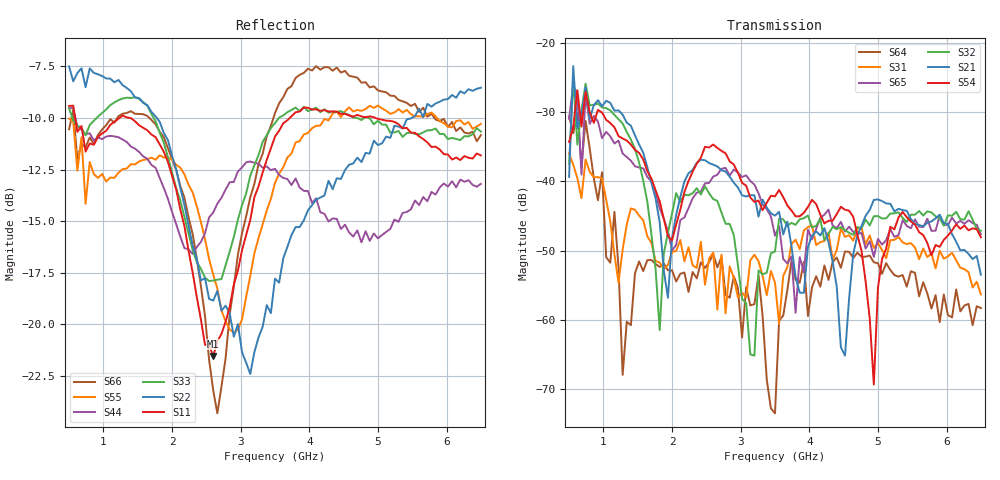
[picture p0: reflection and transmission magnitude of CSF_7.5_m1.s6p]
!Keysight Technologies,M9804A,MY58100912,A.14.10.03
!Date: Thursday, April 27, 2023 10:28:33
!Correction: S11(C  6-Port  )
!S12(C  6-Port  )
!S13(C  6-Port  )
!S14(C  6-Port  )
!S15(C  6-Port  )
!S16(C  6-Port  )
!S21(C  6-Port  )
!S22(C  6-Port  )
!S23(C  6-Port  )
!S24(C  6-Port  )
!S25(C  6-Port  )
!S26(C  6-Port  )
!S31(C  6-Port  )
!S32(C  6-Port  )
!S33(C  6-Port  )
!S34(C  6-Port  )
!S35(C  6-Port  )
!S36(C  6-Port  )
!S41(C  6-Port  )
!S42(C  6-Port  )
!S43(C  6-Port  )
!S44(C  6-Port  )
!S45(C  6-Port  )
!S46(C  6-Port  )
!S51(C  6-Port  )
!S52(C  6-Port  )
!S53(C  6-Port  )
!S54(C  6-Port  )
!S55(C  6-Port  )
!S56(C  6-Port  )
!S61(C  6-Port  )
!S62(C  6-Port  )
!S63(C  6-Port  )
!S64(C  6-Port  )
!S65(C  6-Port  )
!S66(C  6-Port  )
!S6P File: Measurement: :
# Hz S  RI  R 50
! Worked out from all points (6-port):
!   101 points, 500 MHz to 6.5 GHz, reference 50 ohm
!   strongest paths, dB at 500 MHz, 2 GHz, 3.5 GHz, 5 GHz, 6.5 GHz:
!     S54: -34.3, -48.5, -42.2, -55.4, -48.1
!     S21: -39.4, -48.1, -45.0, -42.6, -53.5
!     S32: -37.5, -44.6, -50.1, -45.0, -47.1
!     S65: -30.9, -50.0, -47.8, -48.3, -47.7
!     S31: -35.9, -50.2, -54.6, -48.9, -56.3
!     S64: -30.6, -52.9, -73.5, -51.8, -58.3
!   lowest |S11| = -21.5 dB at 2.6 GHz (marker M1), VSWR 1.18, Z = 42.5 + j2.07 ohm
!   |S11| at or under -10 dB: 588.3 MHz to 1.233 GHz (644.3 MHz wide, 70.8 % of centre); 1.397 GHz to 3.714 GHz (2.317 GHz wide, 90.7 % of centre); 4.969 GHz to end of sweep
